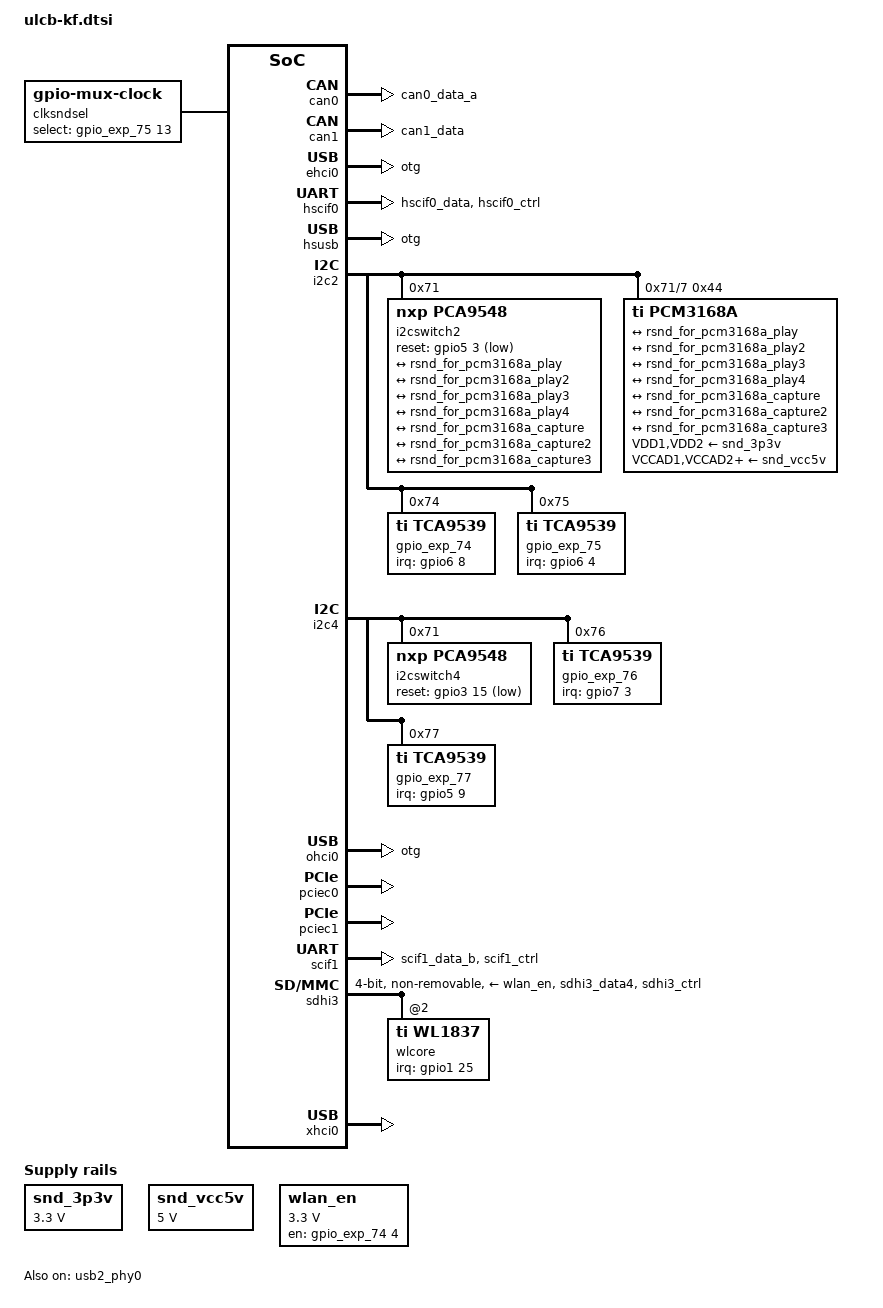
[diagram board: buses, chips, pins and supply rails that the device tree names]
// SPDX-License-Identifier: GPL-2.0
/*
 * Device Tree Source for the Kingfisher (ULCB extension) board
 *
 * Copyright (C) 2017 Renesas Electronics Corp.
 * Copyright (C) 2017 Cogent Embedded, Inc.
 */

/*
 * SSI-PCM3168A
 *	aplay   -D plughw:0,2 xxx.wav
 *	arecord -D plughw:0,3 xxx.wav
 */

/ {
	aliases {
		serial1 = &hscif0;
		serial2 = &scif1;
	};

	clksndsel: clksndsel {
		#clock-cells = <0>;
		compatible = "gpio-mux-clock";
		clocks = <&cs2000>, <&audio_clk_a>; /* clk8snd, clksnd */
		select-gpios = <&gpio_exp_75 13 GPIO_ACTIVE_HIGH>;
	};

	snd_3p3v: regulator-snd_3p3v {
		compatible = "regulator-fixed";
		regulator-name = "snd-3.3v";
		regulator-min-microvolt = <3300000>;
		regulator-max-microvolt = <3300000>;
	};

	snd_vcc5v: regulator-snd_vcc5v {
		compatible = "regulator-fixed";
		regulator-name = "snd-vcc5v";
		regulator-min-microvolt = <5000000>;
		regulator-max-microvolt = <5000000>;
	};

	wlan_en: regulator-wlan_en {
		compatible = "regulator-fixed";
		regulator-name = "wlan-en-regulator";

		regulator-min-microvolt = <3300000>;
		regulator-max-microvolt = <3300000>;

		gpio = <&gpio_exp_74 4 GPIO_ACTIVE_HIGH>;
		startup-delay-us = <70000>;
		enable-active-high;
	};
};

&can0 {
	pinctrl-0 = <&can0_pins>;
	pinctrl-names = "default";
	status = "okay";
};

&can1 {
	pinctrl-0 = <&can1_pins>;
	pinctrl-names = "default";
	status = "okay";
};

&ehci0 {
	dr_mode = "otg";
	status = "okay";
};

&hscif0 {
	pinctrl-0 = <&hscif0_pins>;
	pinctrl-names = "default";
	uart-has-rtscts;

	status = "okay";
};

&hsusb {
	dr_mode = "otg";
	status = "okay";
};

&i2c2 {
	i2cswitch2: i2c-switch@71 {
		compatible = "nxp,pca9548";
		#address-cells = <1>;
		#size-cells = <0>;
		reg = <0x71>;
		reset-gpios = <&gpio5 3 GPIO_ACTIVE_LOW>;

		/* Audio_SDA, Audio_SCL */
		i2c@7 {
			#address-cells = <1>;
			#size-cells = <0>;
			reg = <7>;

			pcm3168a: audio-codec@44 {
				#sound-dai-cells = <0>;
				compatible = "ti,pcm3168a";
				reg = <0x44>;
				clocks = <&clksndsel>;
				clock-names = "scki";

				VDD1-supply	= <&snd_3p3v>;
				VDD2-supply	= <&snd_3p3v>;
				VCCAD1-supply	= <&snd_vcc5v>;
				VCCAD2-supply	= <&snd_vcc5v>;
				VCCDA1-supply	= <&snd_vcc5v>;
				VCCDA2-supply	= <&snd_vcc5v>;

				ports {
					#address-cells = <1>;
					#size-cells = <0>;
					mclk-fs = <512>;
					port@0 {
						prefix = "pcm3168a";
						convert-channels = <8>; /* TDM Split */
						reg = <0>;
						pcm3168a_endpoint_p: endpoint@0 {
							remote-endpoint = <&rsnd_for_pcm3168a_play>;
							clocks = <&clksndsel>;
						};
						pcm3168a_endpoint_p2: endpoint@1 {
							remote-endpoint = <&rsnd_for_pcm3168a_play2>;
						};
						pcm3168a_endpoint_p3: endpoint@2 {
							remote-endpoint = <&rsnd_for_pcm3168a_play3>;
						};
						pcm3168a_endpoint_p4: endpoint@3 {
							remote-endpoint = <&rsnd_for_pcm3168a_play4>;
						};
					};
					port@1 {
						prefix = "pcm3168a";
						convert-channels = <6>; /* TDM Split */
						reg = <1>;
						pcm3168a_endpoint_c: endpoint@0 {
							remote-endpoint = <&rsnd_for_pcm3168a_capture>;
							clocks = <&clksndsel>;
						};
						pcm3168a_endpoint_c2: endpoint@1 {
							remote-endpoint = <&rsnd_for_pcm3168a_capture2>;
							clocks = <&clksndsel>;
						};
						pcm3168a_endpoint_c3: endpoint@2 {
							remote-endpoint = <&rsnd_for_pcm3168a_capture3>;
							clocks = <&clksndsel>;
						};
					};
				};
			};
		};
	};

	/* U11 */
	gpio_exp_74: gpio@74 {
		compatible = "ti,tca9539";
		reg = <0x74>;
		gpio-controller;
		#gpio-cells = <2>;
		interrupt-controller;
		interrupt-parent = <&gpio6>;
		interrupts = <8 IRQ_TYPE_EDGE_FALLING>;

		audio_out_off {
			gpio-hog;
			gpios = <0 GPIO_ACTIVE_HIGH>; /* P00 */
			output-high;
			line-name = "Audio_Out_OFF";
		};

		hub_pwen {
			gpio-hog;
			gpios = <6 GPIO_ACTIVE_HIGH>;
			output-high;
			line-name = "HUB pwen";
		};

		hub_rst {
			gpio-hog;
			gpios = <7 GPIO_ACTIVE_HIGH>;
			output-high;
			line-name = "HUB rst";
		};

		otg_extlpn {
			gpio-hog;
			gpios = <9 GPIO_ACTIVE_HIGH>;
			output-high;
			line-name = "OTG EXTLPn";
		};

		otg_offvbusn {
			gpio-hog;
			gpios = <8 GPIO_ACTIVE_HIGH>;
			output-low;
			line-name = "OTG OFFVBUSn";
		};

		sd-wifi-mux {
			gpio-hog;
			gpios = <5 GPIO_ACTIVE_HIGH>;
			output-low;	/* Connect WL1837 */
			line-name = "SD WiFi mux";
		};

		snd_rst {
			gpio-hog;
			gpios = <15 GPIO_ACTIVE_HIGH>; /* P17 */
			output-high;
			line-name = "SND_RST";
		};
	};

	/* U5 */
	gpio_exp_75: gpio@75 {
		compatible = "ti,tca9539";
		reg = <0x75>;
		gpio-controller;
		#gpio-cells = <2>;
		interrupt-controller;
		interrupt-parent = <&gpio6>;
		interrupts = <4 IRQ_TYPE_EDGE_FALLING>;
	};
};

&i2c4 {
	i2cswitch4: i2c-switch@71 {
		compatible = "nxp,pca9548";
		#address-cells = <1>;
		#size-cells = <0>;
		reg = <0x71>;
		reset-gpios = <&gpio3 15 GPIO_ACTIVE_LOW>;
	};

	gpio_exp_76: gpio@76 {
		compatible = "ti,tca9539";
		reg = <0x76>;
		gpio-controller;
		#gpio-cells = <2>;
		interrupt-controller;
		interrupt-parent = <&gpio7>;
		interrupts = <3 IRQ_TYPE_EDGE_FALLING>;
	};

	gpio_exp_77: gpio@77 {
		compatible = "ti,tca9539";
		reg = <0x77>;
		gpio-controller;
		#gpio-cells = <2>;
		interrupt-controller;
		interrupt-parent = <&gpio5>;
		interrupts = <9 IRQ_TYPE_EDGE_FALLING>;
	};
};

&ohci0 {
	dr_mode = "otg";
	status = "okay";
};

&pcie_bus_clk {
	clock-frequency = <100000000>;
};

&pciec0 {
	status = "okay";
};

&pciec1 {
	status = "okay";
};

&pfc {
	can0_pins: can0 {
		groups = "can0_data_a";
		function = "can0";
	};

	can1_pins: can1 {
		groups = "can1_data";
		function = "can1";
	};

	hscif0_pins: hscif0 {
		groups = "hscif0_data", "hscif0_ctrl";
		function = "hscif0";
	};

	scif1_pins: scif1 {
		groups = "scif1_data_b", "scif1_ctrl";
		function = "scif1";
	};

	sdhi3_pins: sdhi3 {
		groups = "sdhi3_data4", "sdhi3_ctrl";
		function = "sdhi3";
		power-source = <3300>;
	};

	sound_pcm_pins: sound-pcm {
		groups = "ssi349_ctrl", "ssi3_data", "ssi4_data";
		function = "ssi";
	};

	usb0_pins: usb0 {
		groups = "usb0";
		function = "usb0";
	};
};

&rcar_sound {
	pinctrl-0 = <&sound_pins
		     &sound_clk_pins
		     &sound_pcm_pins>;

	ports {
		/* rsnd_port0/1 are on salvator-common */
		rsnd_port2: port@2 {
			#address-cells = <1>;
			#size-cells = <0>;
			reg = <2>;
			rsnd_for_pcm3168a_play: endpoint@2 {
				reg = <2>;
				remote-endpoint = <&pcm3168a_endpoint_p>;

				dai-format = "i2s";
				bitclock-master = <&rsnd_for_pcm3168a_play>;
				frame-master = <&rsnd_for_pcm3168a_play>;

				playback = <&ssiu30 &ssi3>;
			};
			rsnd_for_pcm3168a_play2: endpoint@3 {
				reg = <3>;
				remote-endpoint = <&pcm3168a_endpoint_p2>;

				dai-format = "i2s";
				bitclock-master = <&rsnd_for_pcm3168a_play2>;
				frame-master = <&rsnd_for_pcm3168a_play2>;

				playback = <&ssiu31 &ssi3>;
			};
			rsnd_for_pcm3168a_play3: endpoint@4 {
				reg = <4>;
				remote-endpoint = <&pcm3168a_endpoint_p3>;

				dai-format = "i2s";
				bitclock-master = <&rsnd_for_pcm3168a_play3>;
				frame-master = <&rsnd_for_pcm3168a_play3>;

				playback = <&ssiu32 &ssi3>;
			};
			rsnd_for_pcm3168a_play4: endpoint@5 {
				reg = <5>;
				remote-endpoint = <&pcm3168a_endpoint_p4>;

				dai-format = "i2s";
				bitclock-master = <&rsnd_for_pcm3168a_play4>;
				frame-master = <&rsnd_for_pcm3168a_play4>;

				playback = <&ssiu33 &ssi3>;
			};
		};
		rsnd_port3: port@3 {
			#address-cells = <1>;
			#size-cells = <0>;
			reg = <3>;
			rsnd_for_pcm3168a_capture: endpoint@6 {
				reg = <6>;
				remote-endpoint = <&pcm3168a_endpoint_c>;

				dai-format = "i2s";
				bitclock-master = <&rsnd_for_pcm3168a_capture>;
				frame-master = <&rsnd_for_pcm3168a_capture>;

				capture  = <&ssiu40 &ssi4>;
			};
			rsnd_for_pcm3168a_capture2: endpoint@7 {
				reg = <7>;
				remote-endpoint = <&pcm3168a_endpoint_c2>;

				dai-format = "i2s";
				bitclock-master = <&rsnd_for_pcm3168a_capture2>;
				frame-master = <&rsnd_for_pcm3168a_capture2>;

				capture  = <&ssiu41 &ssi4>;
			};
			rsnd_for_pcm3168a_capture3: endpoint@8 {
				reg = <8>;
				remote-endpoint = <&pcm3168a_endpoint_c3>;

				dai-format = "i2s";
				bitclock-master = <&rsnd_for_pcm3168a_capture3>;
				frame-master = <&rsnd_for_pcm3168a_capture3>;

				capture  = <&ssiu42 &ssi4>;
			};
		};
	};
};

&scif1 {
	pinctrl-0 = <&scif1_pins>;
	pinctrl-names = "default";
	uart-has-rtscts;

	status = "okay";
};

&sdhi3 {
	pinctrl-0 = <&sdhi3_pins>;
	pinctrl-names = "default";

	vmmc-supply = <&wlan_en>;
	vqmmc-supply = <&wlan_en>;
	bus-width = <4>;
	no-1-8-v;
	non-removable;
	cap-power-off-card;
	keep-power-in-suspend;
	max-frequency = <26000000>;
	status = "okay";

	#address-cells = <1>;
	#size-cells = <0>;
	wlcore: wlcore@2 {
		compatible = "ti,wl1837";
		reg = <2>;
		interrupt-parent = <&gpio1>;
		interrupts = <25 IRQ_TYPE_EDGE_FALLING>;
	};
};

&sound_card {
	compatible = "audio-graph-scu-card";

	routing =	"pcm3168a Playback", "DAI2 Playback",
			"pcm3168a Playback", "DAI3 Playback",
			"pcm3168a Playback", "DAI4 Playback",
			"pcm3168a Playback", "DAI5 Playback",
			"DAI6 Capture", "pcm3168a Capture",
			"DAI7 Capture", "pcm3168a Capture",
			"DAI8 Capture", "pcm3168a Capture";

	dais = <&rsnd_port0	/* ak4613 */
//		&rsnd_port1	/* HDMI0  */
		&rsnd_port2	/* pcm3168a playback */
		&rsnd_port3	/* pcm3168a capture  */
		>;
};

&ssi4 {
	shared-pin;
};

&usb2_phy0 {
	pinctrl-0 = <&usb0_pins>;
	pinctrl-names = "default";

	status = "okay";
};

&xhci0 {
	status = "okay";
};
